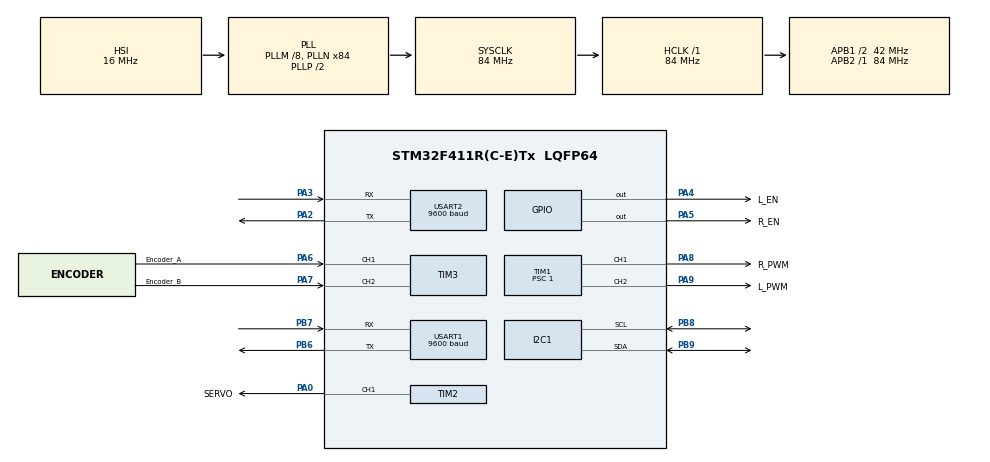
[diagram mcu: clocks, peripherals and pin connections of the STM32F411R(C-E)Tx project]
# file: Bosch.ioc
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FREERTOS.Tasks01=Communication,-1,1024,Commu_function,Default,NULL,Dynamic,NULL,NULL;Motor_Servo_Tas,1,512,Motor_Servo_Task_Function,Default,NULL,Dynamic,NULL,NULL;Re_Encoder_Task,0,512,Read_Encoder,Default,NULL,Dynamic,NULL,NULL
FREERTOS.configUSE_NEWLIB_REENTRANT=1
Mcu.Family=STM32F4
Mcu.Name=STM32F411R(C-E)Tx
Mcu.Package=LQFP64
NVIC.PriorityGroup=NVIC_PRIORITYGROUP_4
NVIC.TIM4_IRQn=true\:15\:0\:false\:false\:true\:false\:false\:true\:true
NVIC.TimeBase=TIM4_IRQn
NVIC.TimeBaseIP=TIM4
NVIC.USART1_IRQn=true\:5\:0\:false\:false\:true\:true\:true\:true\:true
NVIC.USART2_IRQn=true\:5\:0\:false\:false\:true\:true\:true\:true\:true
PA0-WKUP.GPIO_Label=SERVO
PA0-WKUP.GPIO_Speed=GPIO_SPEED_FREQ_HIGH
PA0-WKUP.Signal=S_TIM2_CH1_ETR
PA13.Mode=Serial_Wire
PA13.Signal=SYS_JTMS-SWDIO
PA14.Mode=Serial_Wire
PA14.Signal=SYS_JTCK-SWCLK
PA2.GPIO_Speed=GPIO_SPEED_FREQ_HIGH
PA2.Mode=Asynchronous
PA2.Signal=USART2_TX
PA3.GPIO_Speed=GPIO_SPEED_FREQ_HIGH
PA3.Mode=Asynchronous
PA3.Signal=USART2_RX
PA4.GPIO_Label=L_EN
PA4.GPIO_Speed=GPIO_SPEED_FREQ_HIGH
PA4.PinState=GPIO_PIN_SET
PA4.Signal=GPIO_Output
PA5.GPIO_Label=R_EN
PA5.GPIO_Speed=GPIO_SPEED_FREQ_HIGH
PA5.PinState=GPIO_PIN_SET
PA5.Signal=GPIO_Output
PA6.GPIO_Label=Encoder_A
PA6.GPIO_Speed=GPIO_SPEED_FREQ_HIGH
PA6.Signal=S_TIM3_CH1
PA7.GPIO_Label=Encoder_B
PA7.GPIO_Speed=GPIO_SPEED_FREQ_HIGH
PA7.Signal=S_TIM3_CH2
PA8.GPIO_Label=R_PWM
PA8.GPIO_Speed=GPIO_SPEED_FREQ_HIGH
PA8.Signal=S_TIM1_CH1
PA9.GPIO_Label=L_PWM
PA9.GPIO_Speed=GPIO_SPEED_FREQ_HIGH
PA9.Signal=S_TIM1_CH2
PB6.GPIO_Speed=GPIO_SPEED_FREQ_HIGH
PB6.Mode=Asynchronous
PB6.Signal=USART1_TX
PB7.GPIO_Speed=GPIO_SPEED_FREQ_HIGH
PB7.Mode=Asynchronous
PB7.Signal=USART1_RX
PB8.Mode=I2C
PB8.Signal=I2C1_SCL
PB9.Mode=I2C
PB9.Signal=I2C1_SDA
ProjectManager.HeapSize=0x200
ProjectManager.StackSize=0x400
ProjectManager.TargetToolchain=STM32CubeIDE
RCC.48MHZClocksFreq_Value=42000000
RCC.AHBFreq_Value=84000000
RCC.APB1CLKDivider=RCC_HCLK_DIV2
RCC.APB1Freq_Value=42000000
RCC.APB1TimFreq_Value=84000000
RCC.APB2Freq_Value=84000000
RCC.APB2TimFreq_Value=84000000
RCC.CortexFreq_Value=84000000
RCC.HCLKFreq_Value=84000000
RCC.HSE_VALUE=25000000
RCC.HSI_VALUE=16000000
RCC.LSE_VALUE=32768
RCC.PLLM=8
RCC.PLLN=84
RCC.SYSCLKFreq_VALUE=84000000
RCC.SYSCLKSource=RCC_SYSCLKSOURCE_PLLCLK
RCC.VCOOutputFreq_Value=168000000
SH.S_TIM1_CH1.0=TIM1_CH1,PWM Generation1 CH1
SH.S_TIM1_CH2.0=TIM1_CH2,PWM Generation2 CH2
SH.S_TIM2_CH1_ETR.0=TIM2_CH1,PWM Generation1 CH1
SH.S_TIM3_CH1.0=TIM3_CH1,Encoder_Interface
SH.S_TIM3_CH2.0=TIM3_CH2,Encoder_Interface
TIM1.Channel-PWM\ Generation1\ CH1=TIM_CHANNEL_1
TIM1.Channel-PWM\ Generation2\ CH2=TIM_CHANNEL_2
TIM1.Period=19999
TIM1.Prescaler=1
TIM2.Channel-PWM\ Generation1\ CH1=TIM_CHANNEL_1
TIM2.Period=719
TIM2.Prescaler=83
TIM3.EncoderMode=TIM_ENCODERMODE_TI12
USART1.BaudRate=9600
USART1.VirtualMode=VM_ASYNC
USART2.BaudRate=9600
USART2.VirtualMode=VM_ASYNC
VP_FREERTOS_VS_CMSIS_V1.Mode=CMSIS_V1
VP_SYS_VS_tim4.Mode=TIM4
VP_TIM1_VS_ClockSourceINT.Mode=Internal
VP_TIM2_VS_ClockSourceINT.Mode=Internal
board=custom

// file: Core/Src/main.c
/* USER CODE BEGIN Header */
/**
  ******************************************************************************
  * @file           : main.c
  * @brief          : Main program body
  ******************************************************************************
  * @attention
  *
  * Copyright (c) 2025 STMicroelectronics.
  * All rights reserved.
  *
  * This software is licensed under terms that can be found in the LICENSE file
  * in the root directory of this software component.
  * If no LICENSE file comes with this software, it is provided AS-IS.
  *
  ******************************************************************************
  */
/* USER CODE END Header */
#include "main.h"
#include "cmsis_os.h"

/* USER CODE BEGIN Includes */
#include "freertos_tasks.h"   // file quan ly cac task == file logic
/* USER CODE END Includes */

I2C_HandleTypeDef hi2c1;

TIM_HandleTypeDef htim1;
TIM_HandleTypeDef htim2;
TIM_HandleTypeDef htim3;

UART_HandleTypeDef huart1;
UART_HandleTypeDef huart2;

osThreadId CommunicationHandle;
osThreadId Motor_Servo_TasHandle;
osThreadId Re_Encoder_TaskHandle;
osThreadId imuTaskHandle;

extern uint8_t rx_byte;

void SystemClock_Config(void);
static void MX_GPIO_Init(void);
static void MX_USART1_UART_Init(void);
static void MX_USART2_UART_Init(void);
static void MX_TIM2_Init(void);
static void MX_TIM3_Init(void);
static void MX_TIM1_Init(void);
static void MX_I2C1_Init(void);
void Commu_function(void const * argument);
void Motor_Servo_Task_Function(void const * argument);
void Read_Encoder(void const * argument);

int main(void)
{

  /* MCU Configuration--------------------------------------------------------*/

  /* Reset of all peripherals, Initializes the Flash interface and the Systick. */
  HAL_Init();

  /* Configure the system clock */
  SystemClock_Config();

  /* Initialize all configured peripherals */
  MX_GPIO_Init();
  MX_USART1_UART_Init();
  MX_USART2_UART_Init();
  MX_TIM2_Init();
  MX_TIM3_Init();
  MX_TIM1_Init();
  MX_I2C1_Init();
  /* USER CODE BEGIN 2 */
  // Bắt đầu nhận UART2 (giao tiếp Pi)
  /* Start UART reception */
#if 1
  if (HAL_UART_Receive_IT(&huart2, &rx_byte, 1) != HAL_OK)
  {
      Error_Handler();
  }

  /* Start motor PWM */
  if (HAL_TIM_PWM_Start(&htim1, TIM_CHANNEL_1) != HAL_OK)
  {
      Error_Handler();
  }

  if (HAL_TIM_PWM_Start(&htim1, TIM_CHANNEL_2) != HAL_OK)
  {
      Error_Handler();
  }
#endif

#if 0
  HAL_UART_Receive_IT(&huart2, &rx_byte, 1);
  HAL_TIM_PWM_Start(&htim1, TIM_CHANNEL_1);
  HAL_TIM_PWM_Start(&htim1, TIM_CHANNEL_2) ;
#endif

  /* Start servo PWM */
//  if (HAL_TIM_PWM_Start(&htim2, TIM_CHANNEL_1) != HAL_OK)
//  {
//      Error_Handler();
//  }
  HAL_TIM_PWM_Start(&htim2, TIM_CHANNEL_1);
  HAL_TIM_PWM_Start(&htim3, TIM_CHANNEL_1);
  HAL_TIM_PWM_Start(&htim3, TIM_CHANNEL_2);

  /* Initial steering position */
  Servo_SetAngle(75);

  /* Create FreeRTOS tasks */
  MX_FREERTOS_Init();

  /* USER CODE END 2 */

  /* Create the thread(s) */

  /* Start scheduler */
  osKernelStart();

  /* We should never get here as control is now taken by the scheduler */

  /* Infinite loop */
  while (1)
  {

  }
}

void SystemClock_Config(void)
{
  RCC_OscInitTypeDef RCC_OscInitStruct = {0};
  RCC_ClkInitTypeDef RCC_ClkInitStruct = {0};

  /** Configure the main internal regulator output voltage
  */
  __HAL_RCC_PWR_CLK_ENABLE();
  __HAL_PWR_VOLTAGESCALING_CONFIG(PWR_REGULATOR_VOLTAGE_SCALE1);

  /** Initializes the RCC Oscillators according to the specified parameters
  * in the RCC_OscInitTypeDef structure.
  */
  RCC_OscInitStruct.OscillatorType = RCC_OSCILLATORTYPE_HSI;
  RCC_OscInitStruct.HSIState = RCC_HSI_ON;
  RCC_OscInitStruct.HSICalibrationValue = RCC_HSICALIBRATION_DEFAULT;
  RCC_OscInitStruct.PLL.PLLState = RCC_PLL_ON;
  RCC_OscInitStruct.PLL.PLLSource = RCC_PLLSOURCE_HSI;
  RCC_OscInitStruct.PLL.PLLM = 8;
  RCC_OscInitStruct.PLL.PLLN = 84;
  RCC_OscInitStruct.PLL.PLLP = RCC_PLLP_DIV2;
  RCC_OscInitStruct.PLL.PLLQ = 4;
  if (HAL_RCC_OscConfig(&RCC_OscInitStruct) != HAL_OK)
  {
    Error_Handler();
  }

  /** Initializes the CPU, AHB and APB buses clocks
  */
  RCC_ClkInitStruct.ClockType = RCC_CLOCKTYPE_HCLK|RCC_CLOCKTYPE_SYSCLK
                              |RCC_CLOCKTYPE_PCLK1|RCC_CLOCKTYPE_PCLK2;
  RCC_ClkInitStruct.SYSCLKSource = RCC_SYSCLKSOURCE_PLLCLK;
  RCC_ClkInitStruct.AHBCLKDivider = RCC_SYSCLK_DIV1;
  RCC_ClkInitStruct.APB1CLKDivider = RCC_HCLK_DIV2;
  RCC_ClkInitStruct.APB2CLKDivider = RCC_HCLK_DIV1;

  if (HAL_RCC_ClockConfig(&RCC_ClkInitStruct, FLASH_LATENCY_2) != HAL_OK)
  {
    Error_Handler();
  }
}

static void MX_I2C1_Init(void)
{

  hi2c1.Instance = I2C1;
  hi2c1.Init.ClockSpeed = 100000;
  hi2c1.Init.DutyCycle = I2C_DUTYCYCLE_2;
  hi2c1.Init.OwnAddress1 = 0;
  hi2c1.Init.AddressingMode = I2C_ADDRESSINGMODE_7BIT;
  hi2c1.Init.DualAddressMode = I2C_DUALADDRESS_DISABLE;
  hi2c1.Init.OwnAddress2 = 0;
  hi2c1.Init.GeneralCallMode = I2C_GENERALCALL_DISABLE;
  hi2c1.Init.NoStretchMode = I2C_NOSTRETCH_DISABLE;
  if (HAL_I2C_Init(&hi2c1) != HAL_OK)
  {
    Error_Handler();
  }

}

static void MX_TIM1_Init(void)
{

  TIM_ClockConfigTypeDef sClockSourceConfig = {0};
  TIM_MasterConfigTypeDef sMasterConfig = {0};
  TIM_OC_InitTypeDef sConfigOC = {0};
  TIM_BreakDeadTimeConfigTypeDef sBreakDeadTimeConfig = {0};

  htim1.Instance = TIM1;
  htim1.Init.Prescaler = 0;
  htim1.Init.CounterMode = TIM_COUNTERMODE_UP;
  htim1.Init.Period = 8399;
  htim1.Init.ClockDivision = TIM_CLOCKDIVISION_DIV1;
  htim1.Init.RepetitionCounter = 0;
  htim1.Init.AutoReloadPreload = TIM_AUTORELOAD_PRELOAD_DISABLE;
  if (HAL_TIM_Base_Init(&htim1) != HAL_OK)
  {
    Error_Handler();
  }
  sClockSourceConfig.ClockSource = TIM_CLOCKSOURCE_INTERNAL;
  if (HAL_TIM_ConfigClockSource(&htim1, &sClockSourceConfig) != HAL_OK)
  {
    Error_Handler();
  }
  if (HAL_TIM_PWM_Init(&htim1) != HAL_OK)
  {
    Error_Handler();
  }
  sMasterConfig.MasterOutputTrigger = TIM_TRGO_RESET;
  sMasterConfig.MasterSlaveMode = TIM_MASTERSLAVEMODE_DISABLE;
  if (HAL_TIMEx_MasterConfigSynchronization(&htim1, &sMasterConfig) != HAL_OK)
  {
    Error_Handler();
  }
  sConfigOC.OCMode = TIM_OCMODE_PWM1;
  sConfigOC.Pulse = 0;
  sConfigOC.OCPolarity = TIM_OCPOLARITY_HIGH;
  sConfigOC.OCNPolarity = TIM_OCNPOLARITY_HIGH;
  sConfigOC.OCFastMode = TIM_OCFAST_DISABLE;
  sConfigOC.OCIdleState = TIM_OCIDLESTATE_RESET;
  sConfigOC.OCNIdleState = TIM_OCNIDLESTATE_RESET;
  if (HAL_TIM_PWM_ConfigChannel(&htim1, &sConfigOC, TIM_CHANNEL_1) != HAL_OK)
  {
    Error_Handler();
  }
  if (HAL_TIM_PWM_ConfigChannel(&htim1, &sConfigOC, TIM_CHANNEL_2) != HAL_OK)
  {
    Error_Handler();
  }
  sBreakDeadTimeConfig.OffStateRunMode = TIM_OSSR_DISABLE;
  sBreakDeadTimeConfig.OffStateIDLEMode = TIM_OSSI_DISABLE;
  sBreakDeadTimeConfig.LockLevel = TIM_LOCKLEVEL_OFF;
  sBreakDeadTimeConfig.DeadTime = 0;
  sBreakDeadTimeConfig.BreakState = TIM_BREAK_DISABLE;
  sBreakDeadTimeConfig.BreakPolarity = TIM_BREAKPOLARITY_HIGH;
  sBreakDeadTimeConfig.AutomaticOutput = TIM_AUTOMATICOUTPUT_DISABLE;
  if (HAL_TIMEx_ConfigBreakDeadTime(&htim1, &sBreakDeadTimeConfig) != HAL_OK)
  {
    Error_Handler();
  }
  HAL_TIM_MspPostInit(&htim1);

}

static void MX_TIM2_Init(void)
{

  TIM_ClockConfigTypeDef sClockSourceConfig = {0};
  TIM_MasterConfigTypeDef sMasterConfig = {0};
  TIM_OC_InitTypeDef sConfigOC = {0};

  htim2.Instance = TIM2;
  htim2.Init.Prescaler = 83;
  htim2.Init.CounterMode = TIM_COUNTERMODE_UP;
  htim2.Init.Period = 19999;
  htim2.Init.ClockDivision = TIM_CLOCKDIVISION_DIV1;
  htim2.Init.AutoReloadPreload = TIM_AUTORELOAD_PRELOAD_DISABLE;
  if (HAL_TIM_Base_Init(&htim2) != HAL_OK)
  {
    Error_Handler();
  }
  sClockSourceConfig.ClockSource = TIM_CLOCKSOURCE_INTERNAL;
  if (HAL_TIM_ConfigClockSource(&htim2, &sClockSourceConfig) != HAL_OK)
  {
    Error_Handler();
  }
  if (HAL_TIM_PWM_Init(&htim2) != HAL_OK)
  {
    Error_Handler();
  }
  sMasterConfig.MasterOutputTrigger = TIM_TRGO_RESET;
  sMasterConfig.MasterSlaveMode = TIM_MASTERSLAVEMODE_DISABLE;
  if (HAL_TIMEx_MasterConfigSynchronization(&htim2, &sMasterConfig) != HAL_OK)
  {
    Error_Handler();
  }
  sConfigOC.OCMode = TIM_OCMODE_PWM1;
  sConfigOC.Pulse = 0;
  sConfigOC.OCPolarity = TIM_OCPOLARITY_HIGH;
  sConfigOC.OCFastMode = TIM_OCFAST_DISABLE;
  if (HAL_TIM_PWM_ConfigChannel(&htim2, &sConfigOC, TIM_CHANNEL_1) != HAL_OK)
  {
    Error_Handler();
  }
  HAL_TIM_MspPostInit(&htim2);

}

static void MX_TIM3_Init(void)
{

  TIM_Encoder_InitTypeDef sConfig = {0};
  TIM_MasterConfigTypeDef sMasterConfig = {0};

  htim3.Instance = TIM3;
  htim3.Init.Prescaler = 0;
  htim3.Init.CounterMode = TIM_COUNTERMODE_UP;
  htim3.Init.Period = 65535;
  htim3.Init.ClockDivision = TIM_CLOCKDIVISION_DIV1;
  htim3.Init.AutoReloadPreload = TIM_AUTORELOAD_PRELOAD_DISABLE;
  sConfig.EncoderMode = TIM_ENCODERMODE_TI12;
  sConfig.IC1Polarity = TIM_ICPOLARITY_RISING;
  sConfig.IC1Selection = TIM_ICSELECTION_DIRECTTI;
  sConfig.IC1Prescaler = TIM_ICPSC_DIV1;
  sConfig.IC1Filter = 0;
  sConfig.IC2Polarity = TIM_ICPOLARITY_RISING;
  sConfig.IC2Selection = TIM_ICSELECTION_DIRECTTI;
  sConfig.IC2Prescaler = TIM_ICPSC_DIV1;
  sConfig.IC2Filter = 0;
  if (HAL_TIM_Encoder_Init(&htim3, &sConfig) != HAL_OK)
  {
    Error_Handler();
  }
  sMasterConfig.MasterOutputTrigger = TIM_TRGO_RESET;
  sMasterConfig.MasterSlaveMode = TIM_MASTERSLAVEMODE_DISABLE;
  if (HAL_TIMEx_MasterConfigSynchronization(&htim3, &sMasterConfig) != HAL_OK)
  {
    Error_Handler();
  }

}

static void MX_USART1_UART_Init(void)
{

  huart1.Instance = USART1;
  huart1.Init.BaudRate = 9600;
  huart1.Init.WordLength = UART_WORDLENGTH_8B;
  huart1.Init.StopBits = UART_STOPBITS_1;
  huart1.Init.Parity = UART_PARITY_NONE;
  huart1.Init.Mode = UART_MODE_TX_RX;
  huart1.Init.HwFlowCtl = UART_HWCONTROL_NONE;
  huart1.Init.OverSampling = UART_OVERSAMPLING_16;
  if (HAL_UART_Init(&huart1) != HAL_OK)
  {
    Error_Handler();
  }

}

static void MX_USART2_UART_Init(void)
{

  huart2.Instance = USART2;
  huart2.Init.BaudRate = 115200;
  huart2.Init.WordLength = UART_WORDLENGTH_8B;
  huart2.Init.StopBits = UART_STOPBITS_1;
  huart2.Init.Parity = UART_PARITY_NONE;
  huart2.Init.Mode = UART_MODE_TX_RX;
  huart2.Init.HwFlowCtl = UART_HWCONTROL_NONE;
  huart2.Init.OverSampling = UART_OVERSAMPLING_16;
  if (HAL_UART_Init(&huart2) != HAL_OK)
  {
    Error_Handler();
  }

}

static void MX_GPIO_Init(void)
{
  GPIO_InitTypeDef GPIO_InitStruct = {0};

  /* GPIO Ports Clock Enable */
  __HAL_RCC_GPIOA_CLK_ENABLE();
  __HAL_RCC_GPIOB_CLK_ENABLE();

  /*Configure GPIO pin Output Level */
  HAL_GPIO_WritePin(GPIOA, L_EN_Pin|R_EN_Pin, GPIO_PIN_SET);

  /*Configure GPIO pins : L_EN_Pin R_EN_Pin */
  GPIO_InitStruct.Pin = L_EN_Pin|R_EN_Pin;
  GPIO_InitStruct.Mode = GPIO_MODE_OUTPUT_PP;
  GPIO_InitStruct.Pull = GPIO_NOPULL;
  GPIO_InitStruct.Speed = GPIO_SPEED_FREQ_HIGH;
  HAL_GPIO_Init(GPIOA, &GPIO_InitStruct);

}

void Commu_function(void const * argument)
{
  for(;;)
  {
    osDelay(1);
  }
}

void Motor_Servo_Task_Function(void const * argument)
{
  for(;;)
  {
    osDelay(1);
  }
}

void Read_Encoder(void const * argument)
{
  for(;;)
  {
    osDelay(1);
  }
}

void HAL_TIM_PeriodElapsedCallback(TIM_HandleTypeDef *htim)
{
  if (htim->Instance == TIM4)
  {
    HAL_IncTick();
  }
}

void Error_Handler(void)
{
  __disable_irq();
  while (1)
  {
  }
}
